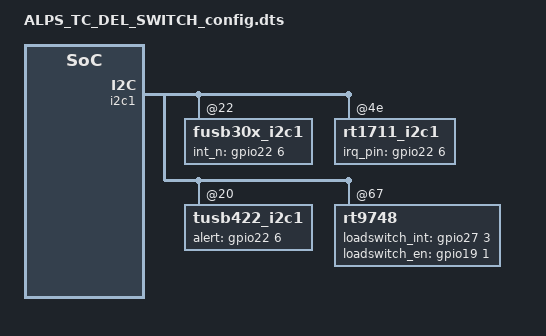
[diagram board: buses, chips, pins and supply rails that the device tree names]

/**
 * Copyright (C) 2014 Hisilicon Ltd.
 *
 *  This program is free software; you can redistribute it and/or modify
 *  it under the terms of the GNU General Public License version 2 as
 *  publishhed by the Free Software Foundation.
 */

/dts-v1/;
/include/ "fastboot.dtsi"
/include/ "ALPS_TUGL_V1_config.dtsi"
/include/ "ALPS_TC_DEL_SWITCH_pin.dtsi"
/include/ "ALPS_TC_DEL_SWITCH_sec_pin.dtsi"

/ {
	hisi,boardid = <6 4 0 3>;
	hisi,boardname = "ALPS_TC_DEL_SWITCH";
	hisi,product_id = <0x39000000>;
	hisi,modem_id = <0x39000000>;
	amba {
		i2c1: i2c@FFD72000 {
			fusb30x_i2c1@22 {
				status = "ok";
				fairchild,int_n = <&gpio22 6 0>;
			};
			rt1711_i2c1@4e {
				status = "ok";
				rt1711,irq_pin = <&gpio22 6 0>;
			};
			tusb422_i2c1@20 {
				status = "ok";
				ti,alert-gpio = <&gpio22 6 0>;
			};
			rt9748: rt9748@67 {
				loadswitch_int = <&gpio27 3 0>;
				loadswitch_en = <&gpio19 1 0>;
				status = "ok";
			};
		};
	};
};
